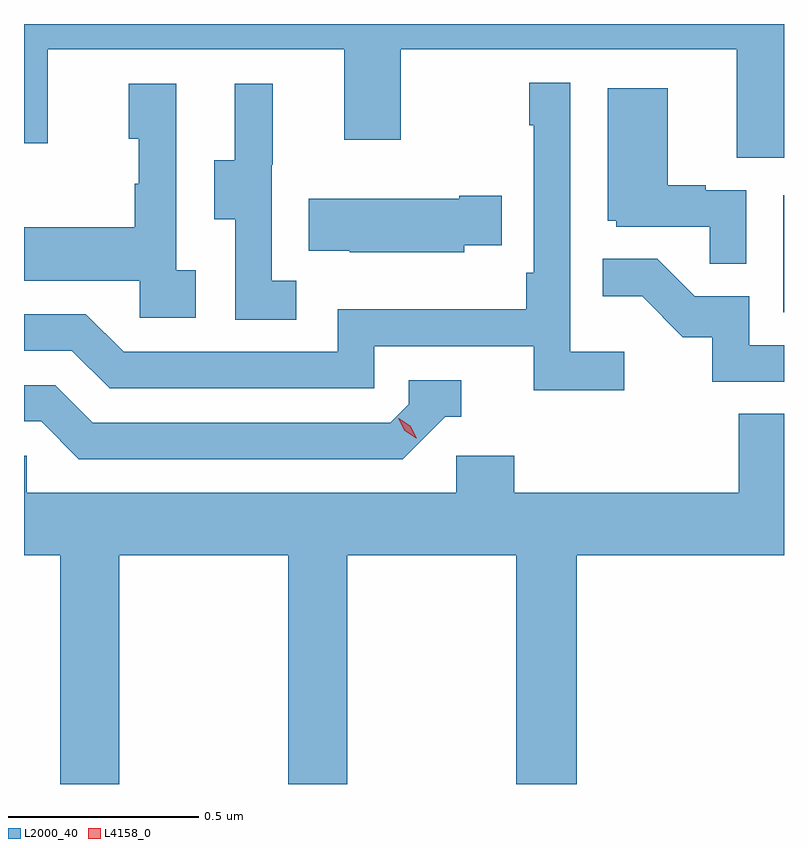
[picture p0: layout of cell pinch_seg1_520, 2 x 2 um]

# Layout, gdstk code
import gdstk
lib = gdstk.Library(unit=1e-6, precision=1e-09)
def R(c, l, rs):  # rectangles x0, y0, x1, y1
    for r in rs: c.add(gdstk.rectangle(r[:2], r[2:], *l))
def P(c, l, *ps):  # polygons
    for p in ps: c.add(gdstk.Polygon(p, *l))
L2000_40 = (2000, 40)
L4158_0 = (4158, 0)

pinch_seg1_520 = lib.new_cell('pinch_seg1_520')
R(pinch_seg1_520, L2000_40, [(1139.942,528.396,1139.944,528.703)])
P(pinch_seg1_520, L2000_40, [(1139.944,529.154),(1137.944,529.154),(1137.944,528.84),(1138.007,528.84),(1138.007,529.088),(1138.787,529.088),(1138.787,528.849),(1138.935,528.849),(1138.935,529.088),(1139.819,529.088),(1139.819,528.802),(1139.944,528.802)],
  [(1139.524,528.292),(1139.382,528.292),(1139.382,529),(1139.274,529),(1139.274,528.887),(1139.286,528.887),(1139.286,528.499),(1139.266,528.499),(1139.266,528.403),(1138.77,528.403),(1138.77,528.291),(1138.206,528.291),(1138.107,528.39),(1137.944,528.39),(1137.944,528.294),(1138.07,528.294),(1138.169,528.195),(1138.866,528.195),(1138.866,528.306),(1139.285,528.306),(1139.285,528.19),(1139.524,528.19)],
  [(1138.396,528.506),(1138.344,528.506),(1138.344,528.997),(1138.22,528.997),(1138.22,528.852),(1138.246,528.852),(1138.246,528.734),(1138.236,528.734),(1138.236,528.619),(1137.944,528.619),(1137.944,528.479),(1138.248,528.479),(1138.248,528.381),(1138.396,528.381)],
  [(1138.66,528.479),(1138.596,528.479),(1138.596,528.783),(1138.598,528.783),(1138.598,528.997),(1138.499,528.997),(1138.499,528.795),(1138.445,528.795),(1138.445,528.64),(1138.5,528.64),(1138.5,528.376),(1138.66,528.376)],
  [(1139.844,528.717),(1139.738,528.717),(1139.738,528.73),(1139.638,528.73),(1139.638,528.985),(1139.48,528.985),(1139.48,528.636),(1139.502,528.636),(1139.502,528.621),(1139.749,528.621),(1139.749,528.523),(1139.844,528.523)],
  [(1139.103,528.572),(1139.201,528.572),(1139.201,528.702),(1139.09,528.702),(1139.09,528.694),(1138.693,528.694),(1138.693,528.557),(1138.801,528.557),(1138.801,528.554),(1139.103,528.554)],
  [(1139.944,528.309),(1139.853,528.309),(1139.853,528.438),(1139.709,528.438),(1139.611,528.536),(1139.467,528.536),(1139.467,528.437),(1139.571,528.437),(1139.678,528.33),(1139.755,528.33),(1139.755,528.213),(1139.944,528.213)],
  [(1139.052,528.12),(1139.095,528.12),(1139.095,528.216),(1138.956,528.216),(1138.956,528.153),(1138.908,528.105),(1138.125,528.105),(1138.026,528.204),(1137.944,528.204),(1137.944,528.108),(1137.989,528.108),(1138.088,528.009),(1138.941,528.009)],
  [(1138.194,527.756),(1138.639,527.756),(1138.639,527.154),(1138.794,527.154),(1138.794,527.756),(1139.239,527.756),(1139.239,527.154),(1139.399,527.154),(1139.399,527.756),(1139.944,527.756),(1139.944,528.128),(1139.825,528.128),(1139.825,527.92),(1139.234,527.92),(1139.234,528.018),(1139.082,528.018),(1139.082,527.92),(1137.951,527.92),(1137.951,528.018),(1137.944,528.018),(1137.944,527.756),(1138.039,527.756),(1138.039,527.154),(1138.194,527.154)])
P(pinch_seg1_520, L4158_0, [(1138.976,528.064),(1138.946,528.084),(1138.929,528.117),(1138.929,528.117),(1138.93,528.117),(1138.96,528.097),(1138.977,528.064),(1138.977,528.064)])

lib.write_gds('pinch_seg1_520.gds')
